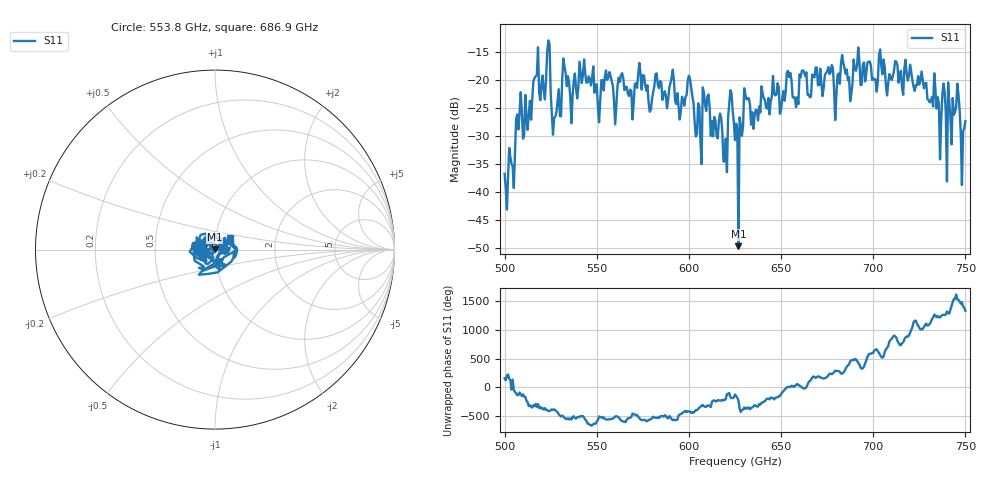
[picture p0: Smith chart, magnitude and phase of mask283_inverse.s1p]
!Created with skrf (http://scikit-rf.org).
# GHz S MA R 50.0
!freq magS11 angS11
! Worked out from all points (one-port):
!   401 points, 500 GHz to 750 GHz, reference 50 ohm
!   lowest |S11| = -49.7 dB at 626.9 GHz (marker M1), VSWR 1.01, Z = 49.8 + j0.258 ohm
!   |S11| at or under -10 dB: start of sweep to end of sweep
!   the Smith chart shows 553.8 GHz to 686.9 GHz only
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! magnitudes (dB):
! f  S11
! 500 GHz  -36.8
! 516.9 GHz  -19.4
! 520.6 GHz  -19.2
! 523.8 GHz  -13.0
! 526.9 GHz  -26.8
! 531.2 GHz  -19.8
! 560 GHz  -27.9
! 562.5 GHz  -20.4
! 579.4 GHz  -25.3
! 590.6 GHz  -19.6
! 593.8 GHz  -22.4
! 600.6 GHz  -19.9
! 605.6 GHz  -24.7
! 608.8 GHz  -24.4
! 619.4 GHz  -34.6
! 622.5 GHz  -21.9
! 625 GHz  -30.7
! 626.9 GHz  -49.7
! 631.2 GHz  -23.5
! 635 GHz  -28.7
! 656.2 GHz  -23.0
! 676.9 GHz  -18.7
! 680 GHz  -22.7
! 683.8 GHz  -17.0
! 687.5 GHz  -23.8
! 690.6 GHz  -18.4
! 718.8 GHz  -20.2
! 750 GHz  -27.4
